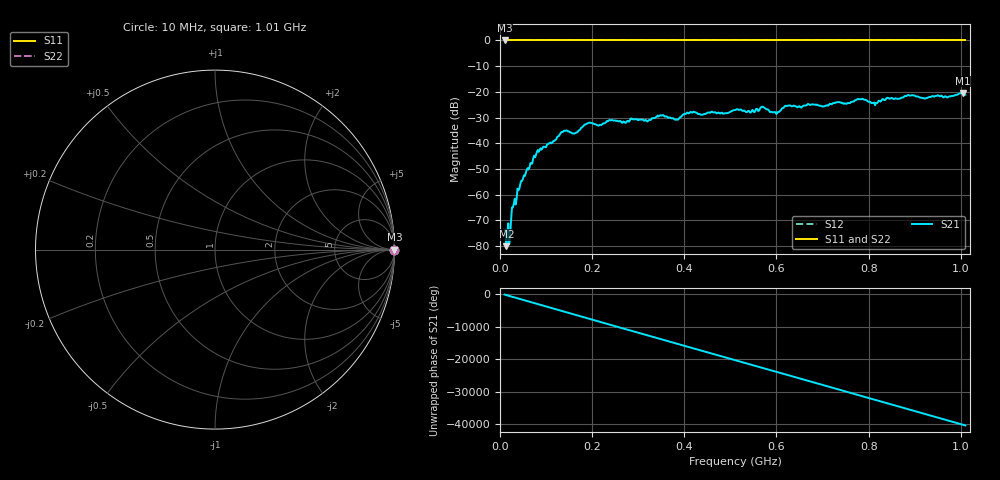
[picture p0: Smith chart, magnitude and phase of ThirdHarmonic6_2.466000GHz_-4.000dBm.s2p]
! 8/17/2025 4:30:10 AM
! C:\ANRITSUVNA\TEMP\TEMP.S2P
! CHANNEL.1
! TR.MEASUREMENT
! RAW.DATA
! RF.CORRECTION.OFF
! AVERAGING.OFF
! IF.BANDWIDTH: 5KHZ
! SWEEPTYPE:  FREQ.SWEEP(Linear)
! Reference Plane Port Info
! PORT:  PORT1  PORT2
! DISTANCE:  0  m  0  m
! TIME:  0  s  0  s
! PHASE.OFFSET:  0  deg.  0  deg.
! LOSS:  0  dB  0  dB
! REF.LOSS:  0  dB  0  dB
! REF.FREQ:  0  Hz  0  Hz
! Power Info
! POWER:  -20  dBm  -20  dBm
! EFF.POWER:  -20  dBm  -20  dBm
! SOURCE.ATTEN:  0  dB  0  dB
! TEST.ATTEN:  0  dB  0  dB
# GHZ S RI R 50.0
! FREQ.GHZ  S11RE  S11IM  S21RE  S21IM  S12RE  S12IM  S22RE  S22IM
!; PortSelection: Port_12
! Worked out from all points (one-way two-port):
!   501 points, 10 MHz to 1.01 GHz, reference 50 ohm
!   highest |S21| = -20.45 dB at 1.004 GHz (marker M1); lowest = -80.0 dB at 14 MHz (marker M2)
!   lowest |S11| = 0.0 dB at 10 MHz (marker M3)
!   |S11| at or under -10 dB: nowhere
!   |S22| runs from 0.0 to 0.0 dB; largest |S21 - S12| = 1.1
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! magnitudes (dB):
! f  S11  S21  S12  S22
! 10 MHz  0.0  -73.9  0.0  0.0
! 14 MHz  0.0  -80.0  0.0  0.0
! 18 MHz  0.0  -71.2  0.0  0.0
! 24 MHz  0.0  -69.9  0.0  0.0
! 28 MHz  0.0  -64.9  0.0  0.0
! 42 MHz  0.0  -57.8  0.0  0.0
! 78 MHz  0.0  -44.6  0.0  0.0
! 136 MHz  0.0  -35.6  0.0  0.0
! 162 MHz  0.0  -36.2  0.0  0.0
! 178 MHz  0.0  -33.8  0.0  0.0
! 344 MHz  0.0  -29.6  0.0  0.0
! 384 MHz  0.0  -30.8  0.0  0.0
! 410 MHz  0.0  -28.4  0.0  0.0
! 510 MHz  0.0  -27.1  0.0  0.0
! 570 MHz  0.0  -25.8  0.0  0.0
! 602 MHz  0.0  -28.0  0.0  0.0
! 622 MHz  0.0  -25.5  0.0  0.0
! 678 MHz  0.0  -24.9  0.0  0.0
! 814 MHz  0.0  -25.2  0.0  0.0
! 844 MHz  0.0  -22.5  0.0  0.0
! 1.004 GHz  0.0  -20.5  0.0  0.0
! 1.01 GHz  0.0  -21.1  0.0  0.0
